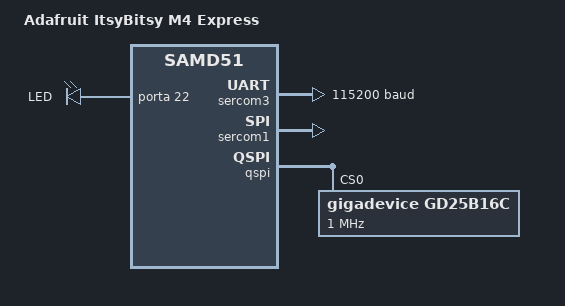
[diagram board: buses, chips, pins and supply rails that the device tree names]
/*
 * Copyright (c) 2020 Google LLC.
 *
 * SPDX-License-Identifier: Apache-2.0
 */

/dts-v1/;
#include <atmel/samd5xx19.dtsi>

/ {
	model = "Adafruit ItsyBitsy M4 Express";
	compatible = "adafruit,itsybitsy-m4-express", "atmel,atsamd51g19a", "atmel,samd51";

	chosen {
		zephyr,console = &sercom3;
		zephyr,shell-uart = &sercom3;
		zephyr,sram = &sram0;
		zephyr,flash = &flash0;
		zephyr,code-partition = &code_partition;
		zephyr,flash-controller = &gd25b16c;
	};

	/* These aliases are provided for compatibility with samples */
	aliases {
		led0 = &led0;
	};

	leds {
		compatible = "gpio-leds";
		led0: led_0 {
			gpios = <&porta 22 0>;
			label = "LED";
		};
	};
};

&cpu0 {
	clock-frequency = <120000000>;
};

&sercom3 {
	status = "okay";
	compatible = "atmel,sam0-uart";
	current-speed = <115200>;
	rxpo = <1>;
	txpo = <0>;
};

&sercom1 {
	status = "okay";
	compatible = "atmel,sam0-spi";
	dipo = <3>;
	dopo = <0>;

	#address-cells = <1>;
	#size-cells = <0>;
};

&qspi {
	status = "okay";
	#address-cells = <1>;
	#size-cells = <0>;

	gd25b16c: gd25b16c@0 {
		compatible = "gigadevice,gd25b16c", "jedec,spi-nor";
		label = "GD25B16C";
		reg = <0>;
		spi-max-frequency = <1000000>;
		size = <DT_SIZE_M(2)>;
		jedec-id = [c8 40 15];
		has-be32k;
		has-dpd;
		status = "okay";
	};
};

&flash0 {
	partitions {
		compatible = "fixed-partitions";
		#address-cells = <1>;
		#size-cells = <1>;

		boot_partition: partition@0 {
			label = "uf2";
			reg = <0x00000000 DT_SIZE_K(16)>;
			read-only;
		};

		code_partition: partition@0x4000 {
			label = "code";
			reg = <DT_SIZE_K(16) DT_SIZE_K(512-8-16)>;
			read-only;
		};

		/*
		 * The final 16 KiB is reserved for the application.
		 * Storage partition will be used by FCB/LittleFS/NVS
		 * if enabled.
		 */
		storage_partition: partition@7c000 {
			label = "storage";
			reg = <DT_SIZE_K(512-16) DT_SIZE_K(16)>;
		};
	};
};
